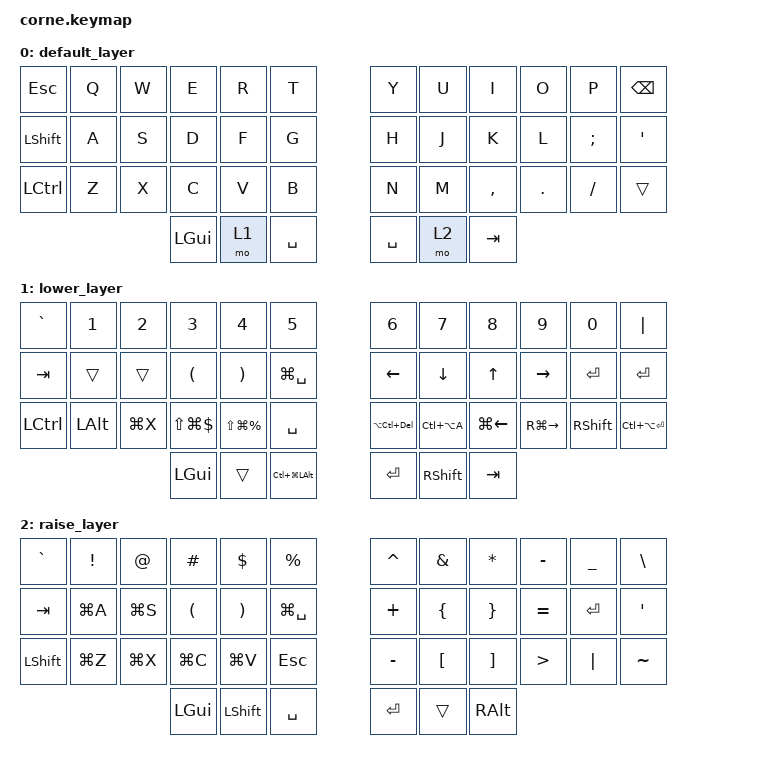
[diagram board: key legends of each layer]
/*
 * Copyright (c) 2020 The ZMK Contributors
 *
 * SPDX-License-Identifier: MIT
 */

#include <behaviors.dtsi>
#include <dt-bindings/zmk/keys.h>
#include <dt-bindings/zmk/bt.h>

/ {
        keymap {
                compatible = "zmk,keymap";

                default_layer {
// -----------------------------------------------------------------------------------------
// |  TAB |  Q  |  W  |  E  |  R  |  T  |   |  Y  |  U   |  I  |  O  |  P  | BKSP |
// | CTRL |  A  |  S  |  D  |  F  |  G  |   |  H  |  J   |  K  |  L  |  ;  |  '   |
// | SHFT |  Z  |  X  |  C  |  V  |  B  |   |  N  |  M   |  ,  |  .  |  /  | ESC  |
//                    | GUI | LWR | SPC |   | ENT | RSE  | ALT |
                        bindings = <
   &kp TAB   &kp Q &kp W &kp E &kp R &kp T   &kp Y &kp U  &kp I     &kp O   &kp P    &kp BSPC
   &kp LCTRL &kp A &kp S &kp D &kp F &kp G   &kp H &kp J  &kp K     &kp L   &kp SEMI &kp SQT
   &kp LSHFT &kp Z &kp X &kp C &kp V &kp B   &kp N &kp M  &kp COMMA &kp DOT &kp FSLH &kp ESC
                  &kp LGUI &mo 1 &kp SPACE   &kp RET &mo 2 &kp RALT
                        >;
                };
                lower_layer {
// -----------------------------------------------------------------------------------------
// |  TAB |  1  |  2  |  3  |  4  |  5  |   |  6  |  7  |  8  |  9  |  0  | BKSP |
// | BTCLR| BT1 | BT2 | BT3 | BT4 | BT5 |   | LFT | DWN |  UP | RGT |     |      |
// | SHFT |     |     |     |     |     |   |     |     |     |     |     |      |
//                    | GUI |     | SPC |   | ENT |     | ALT |
                        bindings = <
   &kp TAB    &kp N1       &kp N2       &kp N3       &kp N4       &kp N5         &kp N6   &kp N7   &kp N8 &kp N9    &kp N0 &kp BSPC
   &bt BT_CLR &bt BT_SEL 0 &bt BT_SEL 1 &bt BT_SEL 2 &bt BT_SEL 3 &bt BT_SEL 4   &kp LEFT &kp DOWN &kp UP &kp RIGHT &trans &trans
   &kp LSHFT  &trans       &trans       &trans       &trans       &trans         &trans   &trans   &trans &trans    &trans &trans
                                    &kp LGUI     &trans       &kp SPACE      &kp RET  &trans   &kp RALT
                        >;
                };

                raise_layer {
// -----------------------------------------------------------------------------------------
// |  TAB |  !  |  @  |  #  |  $  |  %  |   |  ^  |  &  |  *  |  (  |  )  | BKSP |
// | CTRL |     |     |     |     |     |   |  -  |  =  |  [  |  ]  |  \  |  `   |
// | SHFT |     |     |     |     |     |   |  _  |  +  |  {  |  }  | "|" |  ~   |
//                    | GUI |     | SPC |   | ENT |     | ALT |
                        bindings = <
   &kp  TAB  &kp EXCL &kp AT &kp HASH &kp DLLR &kp PRCNT   &kp CARET &kp AMPS  &kp KP_MULTIPLY &kp LPAR &kp RPAR &kp BSPC
   &kp LCTRL &trans   &trans &trans   &trans   &trans      &kp MINUS &kp EQUAL &kp LBKT        &kp RBKT &kp BSLH &kp GRAVE
   &kp LSHFT &trans   &trans &trans   &trans   &trans      &kp UNDER &kp PLUS  &kp LBRC        &kp RBRC &kp PIPE &kp TILDE
                             &kp LGUI &trans   &kp SPACE   &kp RET   &trans    &kp RALT
                        >;
                };
        };
};
/*
 * Copyright (c) 2020 The ZMK Contributors
 *
 * SPDX-License-Identifier: MIT
 */

#include <behaviors.dtsi>
#include <dt-bindings/zmk/keys.h>

/ {
    macros {
        break_point: break_point {
            compatible = "zmk,behavior-macro";
            label = "BREAK_POINT";
            #binding-cells = <0>;
            bindings = <&kp SPACE &kp B>;
        };
    };

    combos {
        compatible = "zmk,combos";

        next_buffer {
            bindings = <&kp SPACE>;
            key-positions = <>;
        };

        new_combo {
            bindings = <&kp LG(TAB)>;
            key-positions = <40 36 12>;
        };
    };

    keymap {
        compatible = "zmk,keymap";

        default_layer {
            // -----------------------------------------------------------------------------------------
            // |  TAB |  Q  |  W  |  E  |  R  |  T  |   |  Y  |  U   |  I  |  O  |  P  | BKSP |
            // | CTRL |  A  |  S  |  D  |  F  |  G  |   |  H  |  J   |  K  |  L  |  ;  |  '   |
            // | SHFT |  Z  |  X  |  C  |  V  |  B  |   |  N  |  M   |  ,  |  .  |  /  | ESC  |
            //                    | GUI | LWR | SPC |   | ENT | RSE  | ALT |

            bindings = <
&kp ESCAPE  &kp Q  &kp W  &kp E     &kp R  &kp T        &kp Y      &kp U  &kp I      &kp O    &kp P     &kp BSPC
&kp LSHFT   &kp A  &kp S  &kp D     &kp F  &kp G        &kp H      &kp J  &kp K      &kp L    &kp SEMI  &kp SQT
&kp LCTRL   &kp Z  &kp X  &kp C     &kp V  &kp B        &kp N      &kp M  &kp COMMA  &kp DOT  &kp FSLH  &trans
                          &kp LGUI  &mo 1  &kp SPACE    &kp SPACE  &mo 2  &kp TAB
            >;
        };

        lower_layer {
            // -----------------------------------------------------------------------------------------
            // |  TAB |  1  |  2  |  3  |  4  |  5  |   |  6  |  7  |  8  |  9  |  0  | BKSP |
            // | BTCLR| BT1 | BT2 | BT3 | BT4 | BT5 |   | LFT | DWN |  UP | RGT |     |      |
            // | SHFT |     |     |     |     |     |   |     |     |     |     |     |      |
            //                    | GUI |     | SPC |   | ENT |     | ALT |

            bindings = <
&kp GRAVE         &kp N1        &kp N2     &kp N3                &kp N4                 &kp N5                  &kp N6              &kp N7           &kp N8        &kp N9         &kp N0           &kp PIPE
&kp TAB           &trans        &trans     &kp LEFT_PARENTHESIS  &kp RIGHT_PARENTHESIS  &kp LG(SPACE)           &kp LEFT            &kp DOWN         &kp UP        &kp RIGHT      &kp ENTER        &kp ENTER
&kp LEFT_CONTROL  &kp LEFT_ALT  &kp LG(X)  &kp LS(LG(DOLLAR))    &kp LS(LG(PERCENT))    &kp SPACE               &kp LA(LC(DELETE))  &kp LC(LA(A))    &kp LG(LEFT)  &kp RG(RIGHT)  &kp RIGHT_SHIFT  &kp LC(LA(ENTER))
                                           &kp LGUI              &trans                 &kp LC(LG(LEFT_ALT))    &kp RET             &kp RIGHT_SHIFT  &kp TAB
            >;
        };

        raise_layer {
            // -----------------------------------------------------------------------------------------
            // |  TAB |  !  |  @  |  #  |  $  |  %  |   |  ^  |  &  |  *  |  (  |  )  | BKSP |
            // | CTRL |     |     |     |     |     |   |  -  |  =  |  [  |  ]  |  \  |  `   |
            // | SHFT |     |     |     |     |     |   |  _  |  +  |  {  |  }  | "|" |  ~   |
            //                    | GUI |     | SPC |   | ENT |     | ALT |

            bindings = <
&kp GRAVE  &kp EXCL   &kp AT     &kp HASH              &kp DLLR               &kp PRCNT        &kp CARET  &kp AMPERSAND     &kp ASTRK          &kp MINUS         &kp UNDERSCORE  &kp BACKSLASH
&kp TAB    &kp LG(A)  &kp LG(S)  &kp LEFT_PARENTHESIS  &kp RIGHT_PARENTHESIS  &kp LG(SPACE)    &kp PLUS   &kp LEFT_BRACE    &kp RIGHT_BRACE    &kp EQUAL         &kp ENTER       &kp SQT
&kp LSHFT  &kp LG(Z)  &kp LG(X)  &kp LG(C)             &kp LG(V)              &kp ESCAPE       &kp MINUS  &kp LEFT_BRACKET  &kp RIGHT_BRACKET  &kp GREATER_THAN  &kp PIPE        &kp TILDE
                                 &kp LGUI              &kp LEFT_SHIFT         &kp SPACE        &kp RET    &trans            &kp RALT
            >;
        };
    };
};
